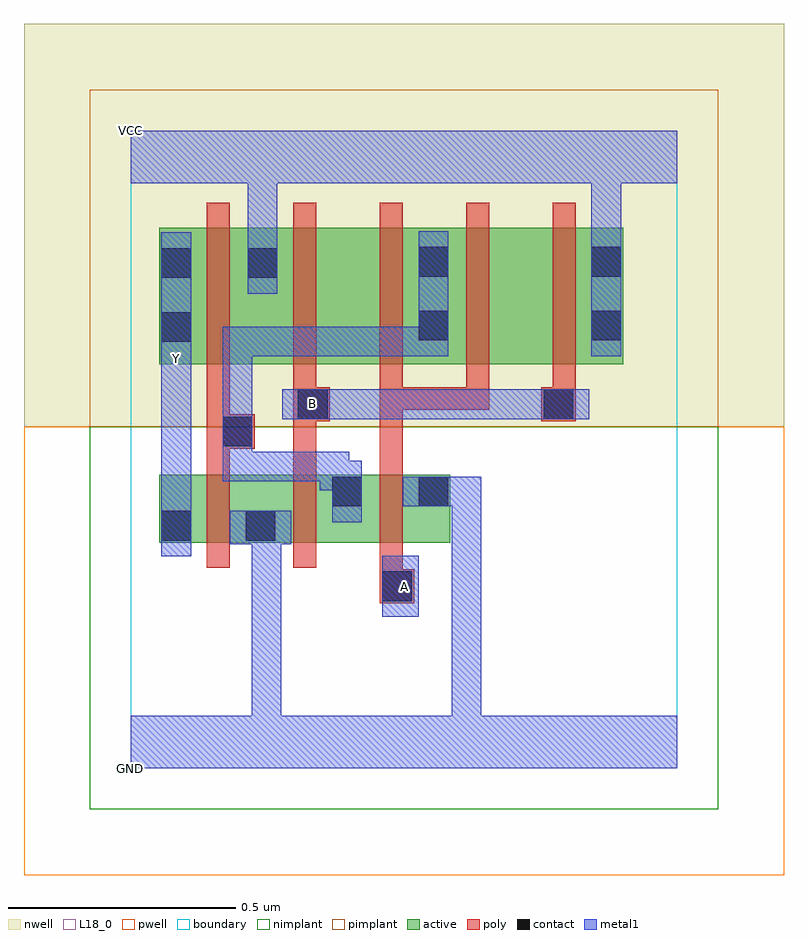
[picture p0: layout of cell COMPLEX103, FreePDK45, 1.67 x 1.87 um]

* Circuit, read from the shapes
.subckt COMPLEX103 A B GND VCC Y
M1 GND n1 Y VSUBS nfet w=0.15u l=0.05u
M2 n1 B GND VSUBS nfet w=0.15u l=0.05u
M3 GND A n1 VSUBS nfet w=0.15u l=0.05u
M4 VCC n1 Y n2 pfet w=0.3u l=0.05u
M5 n3 B VCC n2 pfet w=0.3u l=0.05u
M6 n1 A n3 n2 pfet w=0.3u l=0.05u
M7 n4 A n1 n2 pfet w=0.3u l=0.05u
M8 VCC B n4 n2 pfet w=0.3u l=0.05u
.ends

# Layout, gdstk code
import gdstk
lib = gdstk.Library(unit=1e-6, precision=1e-09)
def R(c, l, rs):  # rectangles x0, y0, x1, y1
    for r in rs: c.add(gdstk.rectangle(r[:2], r[2:], *l))
def A(c, l, x, y, w, h, nx, ny, dx, dy):  # array of equal rectangles
    R(c, l, [(x+i*dx, y+j*dy, x+i*dx+w, y+j*dy+h) for i in range(nx) for j in range(ny)])
active = (1, 0)
pwell = (2, 0)
nwell = (3, 0)
nimplant = (4, 0)
pimplant = (5, 0)
poly = (9, 0)
contact = (10, 0)
metal1 = (11, 0)
L18_0 = (18, 0)
boundary = (235, 0)

complex103 = lib.new_cell('COMPLEX103')
R(complex103, active, [(0.062,0.495,0.137,0.645), (0.062,0.495,0.322,0.645), (0.247,0.495,0.512,0.645), (0.247,0.495,0.322,0.57), (0.437,0.495,0.512,0.645), (0.437,0.495,0.702,0.645), (0.627,0.495,0.702,0.645), (0.062,0.887,0.327,1.187), (0.062,0.887,0.137,1.147), (0.252,0.887,0.477,1.187), (0.477,0.887,0.702,1.187), (0.627,0.887,0.857,1.187), (0.627,0.887,0.702,1.15), (0.857,0.887,1.082,1.187), (1.007,0.887,1.082,1.187), (0.252,1.007,0.327,1.147)])
R(complex103, pwell, [(-0.235,-0.235,1.435,0.75)])
R(complex103, nwell, [(-0.235,0.75,1.435,1.635)])
R(complex103, nimplant, [(-0.09,-0.09,1.29,0.75)])
R(complex103, pimplant, [(-0.09,0.75,1.29,1.49)])
A(complex103, poly, 0.167, 0.44, 0.05, 0.26, 3, 1, 0.19, 0)
A(complex103, poly, 0.357, 0.787, 0.05, 0.095, 4, 1, 0.19, 0)
A(complex103, poly, 0.167, 0.832, 0.05, 0.41, 5, 1, 0.19, 0)
R(complex103, poly, [(0.547,0.362,0.622,0.437), (0.547,0.387,0.597,0.49), (0.167,0.65,0.217,0.752), (0.357,0.65,0.407,0.812), (0.547,0.65,0.597,0.837), (0.167,0.702,0.272,0.777), (0.167,0.727,0.217,0.882), (0.357,0.762,0.437,0.837), (0.902,0.762,0.977,0.837), (0.547,0.787,0.787,0.837), (0.547,0.787,0.597,0.837), (0.547,0.787,0.597,0.837), (0.547,0.787,0.597,0.837), (0.737,0.787,0.787,0.837)])
R(complex103, contact, [(0.552,0.367,0.617,0.432), (0.067,0.5,0.132,0.565), (0.252,0.5,0.317,0.565), (0.442,0.575,0.507,0.64), (0.632,0.575,0.697,0.64), (0.202,0.707,0.267,0.772), (0.367,0.767,0.432,0.832), (0.907,0.767,0.972,0.832), (0.067,0.937,0.132,1.002), (0.632,0.94,0.697,1.005), (1.012,0.94,1.077,1.005), (0.067,1.077,0.132,1.142), (0.257,1.077,0.322,1.142), (0.632,1.08,0.697,1.145), (1.012,1.08,1.077,1.145)])
R(complex103, metal1, [(0,0,1.2,0.115), (0.265,0.05,0.33,0.557), (0.705,0.05,0.77,0.115), (0.705,0.05,0.77,0.115), (0.705,0.05,0.77,0.115), (0.705,0.05,0.77,0.115), (0.705,0.05,0.77,0.115), (0.705,0.05,0.77,0.115), (0.705,0.05,0.77,0.64), (0.552,0.332,0.632,0.467), (0.067,0.465,0.132,0.6), (0.217,0.492,0.352,0.565), (0.265,0.492,0.33,0.557), (0.265,0.492,0.33,0.557), (0.265,0.492,0.33,0.557), (0.265,0.492,0.33,0.557), (0.265,0.492,0.33,0.557), (0.265,0.492,0.33,0.557), (0.067,0.535,0.132,0.897), (0.442,0.54,0.507,0.675), (0.597,0.575,0.77,0.64), (0.415,0.61,0.507,0.675), (0.415,0.61,0.48,0.695), (0.202,0.63,0.267,0.695), (0.202,0.63,0.48,0.695), (0.202,0.63,0.267,0.737), (0.202,0.672,0.267,0.737), (0.202,0.672,0.267,0.737), (0.202,0.672,0.267,0.807), (0.202,0.672,0.267,0.97), (0.332,0.767,0.467,0.832), (0.402,0.767,0.467,0.832), (0.402,0.767,0.467,0.832), (0.402,0.767,0.617,0.832), (0.552,0.767,0.617,0.832), (0.552,0.767,0.8,0.832), (0.735,0.767,0.8,0.832), (0.735,0.767,0.8,0.832), (0.735,0.767,0.8,0.832), (0.735,0.767,0.937,0.832), (0.872,0.767,0.937,0.832), (0.872,0.767,0.937,0.832), (0.872,0.767,1.007,0.832), (0.067,0.832,0.132,0.967), (0.067,0.902,0.132,0.967), (0.067,0.902,0.132,1.177), (0.202,0.905,0.267,0.97), (0.202,0.905,0.48,0.97), (0.415,0.905,0.48,0.97), (0.415,0.905,0.48,0.97), (0.415,0.905,0.48,0.97), (0.415,0.905,0.617,0.97), (0.552,0.905,0.617,0.97), (0.552,0.905,0.697,0.97), (0.632,0.905,0.697,1.18), (1.012,0.905,1.077,1.18), (0.257,1.042,0.322,1.177), (0.257,1.112,0.322,1.177), (0.257,1.112,0.322,1.177), (0.257,1.112,0.322,1.35), (1.012,1.115,1.077,1.18), (1.012,1.115,1.077,1.18), (1.012,1.115,1.077,1.35), (0,1.285,1.2,1.4)])
R(complex103, L18_0, [(0,0,1.2,0.115), (0.265,0.05,0.33,0.557), (0.705,0.05,0.77,0.115), (0.705,0.05,0.77,0.115), (0.705,0.05,0.77,0.115), (0.705,0.05,0.77,0.115), (0.705,0.05,0.77,0.115), (0.705,0.05,0.77,0.115), (0.705,0.05,0.77,0.64), (0.552,0.332,0.632,0.467), (0.567,0.367,0.632,0.432), (0.067,0.465,0.132,0.6), (0.217,0.492,0.352,0.565), (0.265,0.492,0.33,0.557), (0.265,0.492,0.33,0.557), (0.265,0.492,0.33,0.557), (0.265,0.492,0.33,0.557), (0.265,0.492,0.33,0.557), (0.265,0.492,0.33,0.557), (0.067,0.535,0.132,0.897), (0.597,0.575,0.77,0.64), (0.332,0.767,0.467,0.832), (0.367,0.767,0.432,0.832), (0.402,0.767,0.467,0.832), (0.402,0.767,0.467,0.832), (0.402,0.767,0.617,0.832), (0.552,0.767,0.617,0.832), (0.552,0.767,0.8,0.832), (0.735,0.767,0.8,0.832), (0.735,0.767,0.8,0.832), (0.735,0.767,0.8,0.832), (0.735,0.767,0.937,0.832), (0.872,0.767,0.937,0.832), (0.872,0.767,0.937,0.832), (0.872,0.767,1.007,0.832), (0.067,0.832,0.132,0.967), (0.067,0.867,0.132,0.932), (0.067,0.902,0.132,1.177), (0.067,0.902,0.132,0.967), (1.012,0.905,1.077,1.18), (0.257,1.042,0.322,1.177), (0.257,1.112,0.322,1.177), (0.257,1.112,0.322,1.177), (0.257,1.112,0.322,1.35), (1.012,1.115,1.077,1.18), (1.012,1.115,1.077,1.18), (1.012,1.115,1.077,1.35), (0,1.285,1.2,1.4)])
R(complex103, boundary, [(0,0,1.2,1.4)])
complex103.add(gdstk.Label('A', (0.6,0.4), layer=11, texttype=0))
complex103.add(gdstk.Label('B', (0.4,0.8), layer=11, texttype=0))
complex103.add(gdstk.Label('Y', (0.1,0.9), layer=11, texttype=0))
complex103.add(gdstk.Label('VCC', (0,1.4), layer=11, texttype=0))
complex103.add(gdstk.Label('GND', (0,0), layer=11, texttype=0))

lib.write_gds('COMPLEX103.gds')
